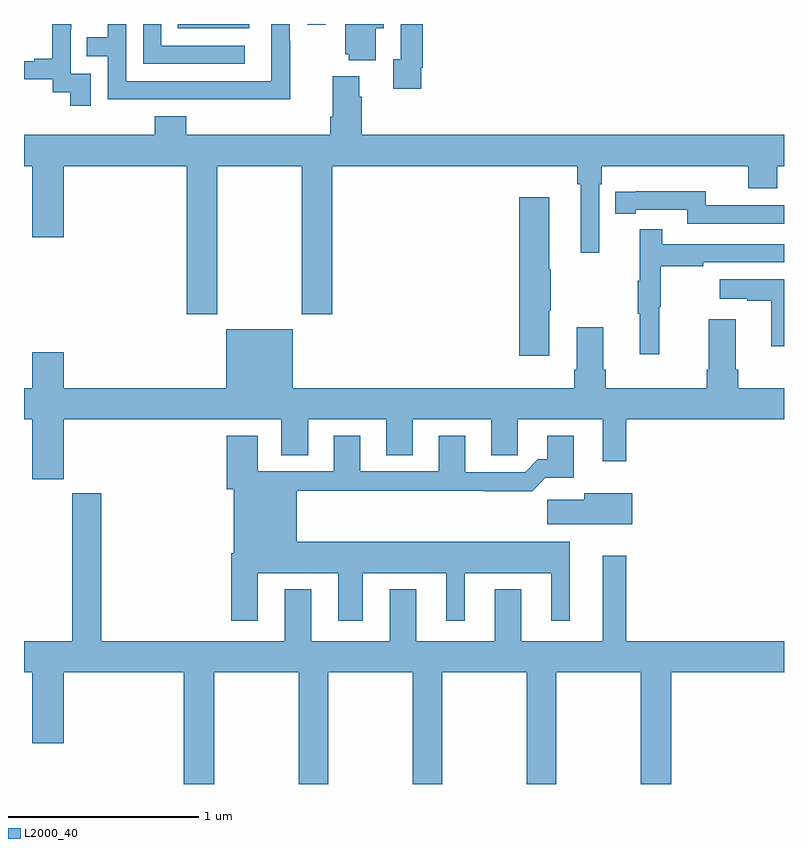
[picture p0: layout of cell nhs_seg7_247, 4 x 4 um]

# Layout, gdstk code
import gdstk
lib = gdstk.Library(unit=1e-6, precision=1e-09)
def R(c, l, rs):  # rectangles x0, y0, x1, y1
    for r in rs: c.add(gdstk.rectangle(r[:2], r[2:], *l))
def P(c, l, *ps):  # polygons
    for p in ps: c.add(gdstk.Polygon(p, *l))
L2000_40 = (2000, 40)

nhs_seg7_247 = lib.new_cell('nhs_seg7_247')
R(nhs_seg7_247, L2000_40, [(129.808,1031.978,130.186,1032), (130.491,1031.997,130.587,1032)])
P(nhs_seg7_247, L2000_40, [(130.401,1031.909),(130.398,1031.909),(130.398,1032),(130.302,1032),(130.302,1031.7),(129.537,1031.7),(129.537,1032),(129.441,1032),(129.441,1031.93),(129.331,1031.93),(129.331,1031.829),(129.441,1031.829),(129.441,1031.604),(129.937,1031.604),(129.937,1031.603),(130.401,1031.603)],
  [(131.092,1031.77),(131.099,1031.77),(131.099,1032),(130.983,1032),(130.983,1031.814),(130.943,1031.814),(130.943,1031.658),(131.092,1031.658)],
  [(129.351,1031.739),(129.246,1031.739),(129.246,1031.969),(129.248,1031.969),(129.248,1032),(129.149,1032),(129.149,1031.818),(129.053,1031.818),(129.053,1031.805),(129,1031.805),(129,1031.709),(129.15,1031.709),(129.15,1031.641),(129.243,1031.641),(129.243,1031.571),(129.351,1031.571)],
  [(130.162,1031.886),(129.723,1031.886),(129.723,1032),(129.627,1032),(129.627,1031.79),(130.162,1031.79)],
  [(130.852,1031.978),(130.894,1031.978),(130.894,1032),(130.691,1032),(130.691,1031.841),(130.709,1031.841),(130.709,1031.81),(130.852,1031.81)],
  [(130.017,1031.252),(130.462,1031.252),(130.462,1030.473),(130.622,1030.473),(130.622,1031.252),(131.911,1031.252),(131.911,1031.156),(131.93,1031.156),(131.93,1030.797),(132.027,1030.797),(132.027,1031.156),(132.041,1031.156),(132.041,1031.252),(132.812,1031.252),(132.812,1031.135),(132.965,1031.135),(132.965,1031.252),(133,1031.252),(133,1031.416),(130.778,1031.416),(130.778,1031.618),(130.765,1031.618),(130.765,1031.725),(130.625,1031.725),(130.625,1031.512),(130.613,1031.512),(130.613,1031.416),(129.854,1031.416),(129.854,1031.515),(129.689,1031.515),(129.689,1031.416),(129,1031.416),(129,1031.252),(129.044,1031.252),(129.044,1030.878),(129.208,1030.878),(129.208,1031.252),(129.857,1031.252),(129.857,1030.473),(130.017,1030.473)],
  [(133,1031.046),(132.588,1031.046),(132.588,1031.119),(132.22,1031.119),(132.22,1031.118),(132.112,1031.118),(132.112,1031.002),(132.22,1031.002),(132.22,1031.022),(132.492,1031.022),(132.492,1030.95),(133,1030.95)],
  [(131.764,1030.492),(131.772,1030.492),(131.772,1030.709),(131.764,1030.709),(131.764,1031.089),(131.606,1031.089),(131.606,1030.254),(131.764,1030.254)],
  [(132.344,1030.512),(132.352,1030.512),(132.352,1030.726),(132.575,1030.726),(132.575,1030.746),(133,1030.746),(133,1030.842),(132.359,1030.842),(132.359,1030.921),(132.242,1030.921),(132.242,1030.649),(132.231,1030.649),(132.231,1030.475),(132.242,1030.475),(132.242,1030.263),(132.344,1030.263)],
  [(133,1030.657),(132.663,1030.657),(132.663,1030.553),(132.806,1030.553),(132.806,1030.543),(132.932,1030.543),(132.932,1030.305),(133,1030.305)],
  [(129.208,1029.92),(130.355,1029.92),(130.355,1029.73),(130.495,1029.73),(130.495,1029.92),(130.907,1029.92),(130.907,1029.73),(131.047,1029.73),(131.047,1029.92),(131.459,1029.92),(131.459,1029.73),(131.598,1029.73),(131.598,1029.92),(132.047,1029.92),(132.047,1029.699),(132.169,1029.699),(132.169,1029.92),(133,1029.92),(133,1030.084),(132.758,1030.084),(132.758,1030.18),(132.745,1030.18),(132.745,1030.447),(132.605,1030.447),(132.605,1030.18),(132.593,1030.18),(132.593,1030.084),(132.062,1030.084),(132.062,1030.18),(132.049,1030.18),(132.049,1030.405),(131.909,1030.405),(131.909,1030.18),(131.897,1030.18),(131.897,1030.084),(130.414,1030.084),(130.414,1030.393),(130.064,1030.393),(130.064,1030.084),(129.208,1030.084),(129.208,1030.273),(129.044,1030.273),(129.044,1030.084),(129,1030.084),(129,1029.92),(129.044,1029.92),(129.044,1029.603),(129.208,1029.603)],
  [(130.231,1029.11),(130.655,1029.11),(130.655,1028.859),(130.783,1028.859),(130.783,1029.11),(131.222,1029.11),(131.222,1028.859),(131.32,1028.859),(131.32,1029.11),(131.774,1029.11),(131.774,1028.859),(131.872,1028.859),(131.872,1029.274),(130.435,1029.274),(130.435,1029.544),(131.419,1029.544),(131.419,1029.542),(131.675,1029.542),(131.744,1029.611),(131.893,1029.611),(131.893,1029.832),(131.753,1029.832),(131.753,1029.709),(131.704,1029.709),(131.637,1029.642),(131.323,1029.642),(131.323,1029.832),(131.183,1029.832),(131.183,1029.645),(130.771,1029.645),(130.771,1029.832),(130.631,1029.832),(130.631,1029.645),(130.231,1029.645),(130.231,1029.832),(130.067,1029.832),(130.067,1029.552),(130.103,1029.552),(130.103,1029.214),(130.091,1029.214),(130.091,1028.859),(130.231,1028.859)],
  [(131.617,1029.025),(131.477,1029.025),(131.477,1028.752),(131.065,1028.752),(131.065,1029.025),(130.925,1029.025),(130.925,1028.752),(130.513,1028.752),(130.513,1029.025),(130.373,1029.025),(130.373,1028.752),(129.407,1028.752),(129.407,1029.531),(129.254,1029.531),(129.254,1028.752),(129,1028.752),(129,1028.588),(129.044,1028.588),(129.044,1028.214),(129.208,1028.214),(129.208,1028.588),(129.842,1028.588),(129.842,1028),(130.002,1028),(130.002,1028.588),(130.447,1028.588),(130.447,1028),(130.602,1028),(130.602,1028.588),(131.047,1028.588),(131.047,1028),(131.202,1028),(131.202,1028.588),(131.647,1028.588),(131.647,1028),(131.802,1028),(131.802,1028.588),(132.247,1028.588),(132.247,1028),(132.407,1028),(132.407,1028.588),(133,1028.588),(133,1028.752),(132.169,1028.752),(132.169,1029.202),(132.047,1029.202),(132.047,1028.752),(131.617,1028.752)],
  [(132.202,1029.529),(131.948,1029.529),(131.948,1029.497),(131.754,1029.497),(131.754,1029.368),(132.202,1029.368)])

lib.write_gds('nhs_seg7_247.gds')
